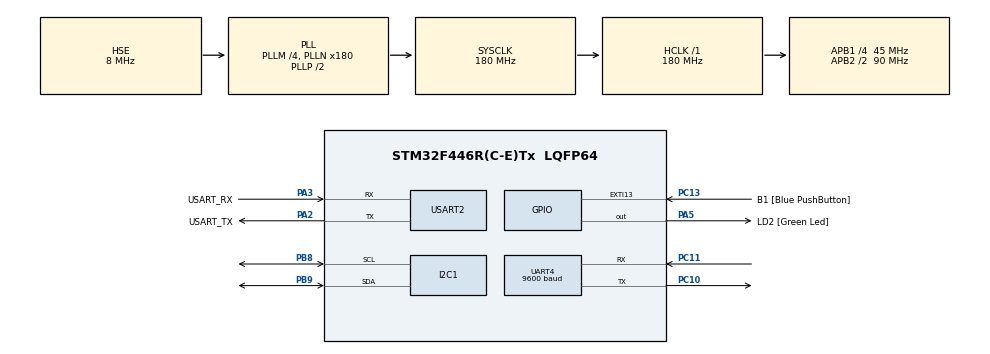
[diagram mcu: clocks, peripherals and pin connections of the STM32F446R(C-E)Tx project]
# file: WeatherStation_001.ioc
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Dma.Request0=UART4_RX
Dma.UART4_RX.0.Direction=DMA_PERIPH_TO_MEMORY
Dma.UART4_RX.0.FIFOMode=DMA_FIFOMODE_DISABLE
Dma.UART4_RX.0.Instance=DMA1_Stream2
Dma.UART4_RX.0.MemDataAlignment=DMA_MDATAALIGN_BYTE
Dma.UART4_RX.0.MemInc=DMA_MINC_ENABLE
Dma.UART4_RX.0.Mode=DMA_CIRCULAR
Dma.UART4_RX.0.PeriphDataAlignment=DMA_PDATAALIGN_BYTE
Dma.UART4_RX.0.PeriphInc=DMA_PINC_DISABLE
Dma.UART4_RX.0.Priority=DMA_PRIORITY_LOW
FREERTOS.Mutexes01=weatherMutex,Dynamic,NULL
FREERTOS.Tasks01=communicationTa,0,512,StartWaitCommand,Default,NULL,Dynamic,NULL,NULL;displayTask,-2,512,StartUpdateDisplay,Default,NULL,Dynamic,NULL,NULL;sensorTask,2,512,StartReadSensor,Default,NULL,Dynamic,NULL,NULL
I2C1.I2C_Mode=I2C_Fast
Mcu.Family=STM32F4
Mcu.Name=STM32F446R(C-E)Tx
Mcu.Package=LQFP64
NVIC.DMA1_Stream2_IRQn=true\:5\:0\:false\:false\:true\:true\:false
NVIC.PriorityGroup=NVIC_PRIORITYGROUP_4
NVIC.TIM6_DAC_IRQn=true\:0\:0\:false\:false\:true\:false\:false
NVIC.TimeBase=TIM6_DAC_IRQn
NVIC.TimeBaseIP=TIM6
PA13.GPIO_Label=TMS
PA13.Mode=Serial_Wire
PA13.Signal=SYS_JTMS-SWDIO
PA14.GPIO_Label=TCK
PA14.Mode=Serial_Wire
PA14.Signal=SYS_JTCK-SWCLK
PA2.GPIO_Label=USART_TX
PA2.Mode=Asynchronous
PA2.Signal=USART2_TX
PA3.GPIO_Label=USART_RX
PA3.Mode=Asynchronous
PA3.Signal=USART2_RX
PA5.GPIO_Label=LD2 [Green Led]
PA5.Signal=GPIO_Output
PB3.GPIO_Label=SWO
PB3.Signal=SYS_JTDO-SWO
PB8.Mode=I2C
PB8.Signal=I2C1_SCL
PB9.Mode=I2C
PB9.Signal=I2C1_SDA
PC10.Mode=Asynchronous
PC10.Signal=UART4_TX
PC11.Mode=Asynchronous
PC11.Signal=UART4_RX
PC13.GPIO_Label=B1 [Blue PushButton]
PC13.GPIO_ModeDefaultEXTI=GPIO_MODE_IT_FALLING
PC13.Signal=GPXTI13
PC14-OSC32_IN.Mode=LSE-External-Oscillator
PC14-OSC32_IN.Signal=RCC_OSC32_IN
PC15-OSC32_OUT.Mode=LSE-External-Oscillator
PC15-OSC32_OUT.Signal=RCC_OSC32_OUT
PH0-OSC_IN.Mode=HSE-External-Clock-Source
PH0-OSC_IN.Signal=RCC_OSC_IN
PH1-OSC_OUT.Mode=HSE-External-Clock-Source
PH1-OSC_OUT.Signal=RCC_OSC_OUT
ProjectManager.HeapSize=0x200
ProjectManager.StackSize=0x400
ProjectManager.TargetToolchain=SW4STM32
RCC.48MHZClocksFreq_Value=84000000
RCC.AHBFreq_Value=180000000
RCC.APB1CLKDivider=RCC_HCLK_DIV4
RCC.APB1Freq_Value=45000000
RCC.APB1TimFreq_Value=90000000
RCC.APB2CLKDivider=RCC_HCLK_DIV2
RCC.APB2Freq_Value=90000000
RCC.APB2TimFreq_Value=180000000
RCC.CortexFreq_Value=180000000
RCC.FLatency-AdvancedSettings=FLASH_LATENCY_5
RCC.HCLKFreq_Value=180000000
RCC.HSE_VALUE=8000000
RCC.HSI_VALUE=16000000
RCC.PLLM=4
RCC.PLLN=180
RCC.PLLSourceVirtual=RCC_PLLSOURCE_HSE
RCC.SYSCLKFreq_VALUE=180000000
RCC.SYSCLKSource=RCC_SYSCLKSOURCE_PLLCLK
RCC.USBFreq_Value=180000000
RCC.VCOOutputFreq_Value=360000000
UART4.BaudRate=9600
UART4.VirtualMode=Asynchronous
USART2.VirtualMode=VM_ASYNC
VP_FREERTOS_VS_ENABLE.Mode=Enabled
VP_SYS_VS_tim6.Mode=TIM6
board=NUCLEO-F446RE

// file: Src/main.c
/**
  ******************************************************************************
  * @file           : main.c
  * @brief          : Main program body
  ******************************************************************************
  * This notice applies to any and all portions of this file
  * that are not between comment pairs USER CODE BEGIN and
  * USER CODE END. Other portions of this file, whether
  * inserted by the user or by software development tools
  * are owned by their respective copyright owners.
  *
  * Copyright (c) 2018 STMicroelectronics International N.V.
  * All rights reserved.
  *
  * Redistribution and use in source and binary forms, with or without
  * modification, are permitted, provided that the following conditions are met:
  *
  * 1. Redistribution of source code must retain the above copyright notice,
  *    this list of conditions and the following disclaimer.
  * 2. Redistributions in binary form must reproduce the above copyright notice,
  *    this list of conditions and the following disclaimer in the documentation
  *    and/or other materials provided with the distribution.
  * 3. Neither the name of STMicroelectronics nor the names of other
  *    contributors to this software may be used to endorse or promote products
  *    derived from this software without specific written permission.
  * 4. This software, including modifications and/or derivative works of this
  *    software, must execute solely and exclusively on microcontroller or
  *    microprocessor devices manufactured by or for STMicroelectronics.
  * 5. Redistribution and use of this software other than as permitted under
  *    this license is void and will automatically terminate your rights under
  *    this license.
  *
  * THIS SOFTWARE IS PROVIDED BY STMICROELECTRONICS AND CONTRIBUTORS "AS IS"
  * AND ANY EXPRESS, IMPLIED OR STATUTORY WARRANTIES, INCLUDING, BUT NOT
  * LIMITED TO, THE IMPLIED WARRANTIES OF MERCHANTABILITY, FITNESS FOR A
  * PARTICULAR PURPOSE AND NON-INFRINGEMENT OF THIRD PARTY INTELLECTUAL PROPERTY
  * RIGHTS ARE DISCLAIMED TO THE FULLEST EXTENT PERMITTED BY LAW. IN NO EVENT
  * SHALL STMICROELECTRONICS OR CONTRIBUTORS BE LIABLE FOR ANY DIRECT, INDIRECT,
  * INCIDENTAL, SPECIAL, EXEMPLARY, OR CONSEQUENTIAL DAMAGES (INCLUDING, BUT NOT
  * LIMITED TO, PROCUREMENT OF SUBSTITUTE GOODS OR SERVICES; LOSS OF USE, DATA,
  * OR PROFITS; OR BUSINESS INTERRUPTION) HOWEVER CAUSED AND ON ANY THEORY OF
  * LIABILITY, WHETHER IN CONTRACT, STRICT LIABILITY, OR TORT (INCLUDING
  * NEGLIGENCE OR OTHERWISE) ARISING IN ANY WAY OUT OF THE USE OF THIS SOFTWARE,
  * EVEN IF ADVISED OF THE POSSIBILITY OF SUCH DAMAGE.
  *
  ******************************************************************************
  */
#include "main.h"
#include "stm32f4xx_hal.h"
#include "cmsis_os.h"
#include "dma.h"
#include "i2c.h"
#include "usart.h"
#include "gpio.h"

/* USER CODE BEGIN PV */
/* Private variables ---------------------------------------------------------*/

/* USER CODE END PV */

void SystemClock_Config(void);
void MX_FREERTOS_Init(void);

/* USER CODE BEGIN PFP */
/* Private function prototypes -----------------------------------------------*/

/* USER CODE END PFP */

int main(void)
{

  /* MCU Configuration----------------------------------------------------------*/

  /* Reset of all peripherals, Initializes the Flash interface and the Systick. */
  HAL_Init();

  /* Configure the system clock */
  SystemClock_Config();

  /* Initialize all configured peripherals */
  MX_GPIO_Init();
  MX_DMA_Init();
  MX_USART2_UART_Init();
  MX_I2C1_Init();
  MX_UART4_Init();

  /* Call init function for freertos objects (in freertos.c) */
  MX_FREERTOS_Init();

  /* Start scheduler */
  osKernelStart();

  /* We should never get here as control is now taken by the scheduler */

  /* Infinite loop */
  while (1)
  {

  }

}

void SystemClock_Config(void)
{

  RCC_OscInitTypeDef RCC_OscInitStruct;
  RCC_ClkInitTypeDef RCC_ClkInitStruct;

    /**Configure the main internal regulator output voltage
    */
  __HAL_RCC_PWR_CLK_ENABLE();

  __HAL_PWR_VOLTAGESCALING_CONFIG(PWR_REGULATOR_VOLTAGE_SCALE1);

    /**Initializes the CPU, AHB and APB busses clocks
    */
  RCC_OscInitStruct.OscillatorType = RCC_OSCILLATORTYPE_HSE;
  RCC_OscInitStruct.HSEState = RCC_HSE_BYPASS;
  RCC_OscInitStruct.PLL.PLLState = RCC_PLL_ON;
  RCC_OscInitStruct.PLL.PLLSource = RCC_PLLSOURCE_HSE;
  RCC_OscInitStruct.PLL.PLLM = 4;
  RCC_OscInitStruct.PLL.PLLN = 180;
  RCC_OscInitStruct.PLL.PLLP = RCC_PLLP_DIV2;
  RCC_OscInitStruct.PLL.PLLQ = 2;
  RCC_OscInitStruct.PLL.PLLR = 2;
  if (HAL_RCC_OscConfig(&RCC_OscInitStruct) != HAL_OK)
  {
    _Error_Handler(__FILE__, __LINE__);
  }

    /**Activate the Over-Drive mode
    */
  if (HAL_PWREx_EnableOverDrive() != HAL_OK)
  {
    _Error_Handler(__FILE__, __LINE__);
  }

    /**Initializes the CPU, AHB and APB busses clocks
    */
  RCC_ClkInitStruct.ClockType = RCC_CLOCKTYPE_HCLK|RCC_CLOCKTYPE_SYSCLK
                              |RCC_CLOCKTYPE_PCLK1|RCC_CLOCKTYPE_PCLK2;
  RCC_ClkInitStruct.SYSCLKSource = RCC_SYSCLKSOURCE_PLLCLK;
  RCC_ClkInitStruct.AHBCLKDivider = RCC_SYSCLK_DIV1;
  RCC_ClkInitStruct.APB1CLKDivider = RCC_HCLK_DIV4;
  RCC_ClkInitStruct.APB2CLKDivider = RCC_HCLK_DIV2;

  if (HAL_RCC_ClockConfig(&RCC_ClkInitStruct, FLASH_LATENCY_5) != HAL_OK)
  {
    _Error_Handler(__FILE__, __LINE__);
  }

    /**Configure the Systick interrupt time
    */
  HAL_SYSTICK_Config(HAL_RCC_GetHCLKFreq()/1000);

    /**Configure the Systick
    */
  HAL_SYSTICK_CLKSourceConfig(SYSTICK_CLKSOURCE_HCLK);

  /* SysTick_IRQn interrupt configuration */
  HAL_NVIC_SetPriority(SysTick_IRQn, 15, 0);
}

void HAL_TIM_PeriodElapsedCallback(TIM_HandleTypeDef *htim)
{
  if (htim->Instance == TIM6) {
    HAL_IncTick();
  }
}

void _Error_Handler(char *file, int line)
{
  while(1)
  {
  }
}

/************************ (C) COPYRIGHT STMicroelectronics *****END OF FILE****/

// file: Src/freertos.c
/* USER CODE BEGIN Header */
/**
 ******************************************************************************
 * File Name          : freertos.c
 * Description        : Code for freertos applications
 ******************************************************************************
 * This notice applies to any and all portions of this file
 * that are not between comment pairs USER CODE BEGIN and
 * USER CODE END. Other portions of this file, whether
 * inserted by the user or by software development tools
 * are owned by their respective copyright owners.
 *
 * Copyright (c) 2018 STMicroelectronics International N.V.
 * All rights reserved.
 *
 * Redistribution and use in source and binary forms, with or without
 * modification, are permitted, provided that the following conditions are met:
 *
 * 1. Redistribution of source code must retain the above copyright notice,
 *    this list of conditions and the following disclaimer.
 * 2. Redistributions in binary form must reproduce the above copyright notice,
 *    this list of conditions and the following disclaimer in the documentation
 *    and/or other materials provided with the distribution.
 * 3. Neither the name of STMicroelectronics nor the names of other
 *    contributors to this software may be used to endorse or promote products
 *    derived from this software without specific written permission.
 * 4. This software, including modifications and/or derivative works of this
 *    software, must execute solely and exclusively on microcontroller or
 *    microprocessor devices manufactured by or for STMicroelectronics.
 * 5. Redistribution and use of this software other than as permitted under
 *    this license is void and will automatically terminate your rights under
 *    this license.
 *
 * THIS SOFTWARE IS PROVIDED BY STMICROELECTRONICS AND CONTRIBUTORS "AS IS"
 * AND ANY EXPRESS, IMPLIED OR STATUTORY WARRANTIES, INCLUDING, BUT NOT
 * LIMITED TO, THE IMPLIED WARRANTIES OF MERCHANTABILITY, FITNESS FOR A
 * PARTICULAR PURPOSE AND NON-INFRINGEMENT OF THIRD PARTY INTELLECTUAL PROPERTY
 * RIGHTS ARE DISCLAIMED TO THE FULLEST EXTENT PERMITTED BY LAW. IN NO EVENT
 * SHALL STMICROELECTRONICS OR CONTRIBUTORS BE LIABLE FOR ANY DIRECT, INDIRECT,
 * INCIDENTAL, SPECIAL, EXEMPLARY, OR CONSEQUENTIAL DAMAGES (INCLUDING, BUT NOT
 * LIMITED TO, PROCUREMENT OF SUBSTITUTE GOODS OR SERVICES; LOSS OF USE, DATA,
 * OR PROFITS; OR BUSINESS INTERRUPTION) HOWEVER CAUSED AND ON ANY THEORY OF
 * LIABILITY, WHETHER IN CONTRACT, STRICT LIABILITY, OR TORT (INCLUDING
 * NEGLIGENCE OR OTHERWISE) ARISING IN ANY WAY OUT OF THE USE OF THIS SOFTWARE,
 * EVEN IF ADVISED OF THE POSSIBILITY OF SUCH DAMAGE.
 *
 ******************************************************************************
 */
/* USER CODE END Header */

#include "FreeRTOS.h"
#include "task.h"
#include "main.h"
#include "cmsis_os.h"

/* USER CODE BEGIN Includes */

#include "stm32f4xx_hal.h"
#include "i2c.h"
#include "usart.h"
#include "lcd.h"
#include "BMP280.h"
#include "ringbuffer_dma.h"
#include <string.h>
#include "at_parser.h"
#include "weatherForecast.h"

#include "dataTypes.h"
#include "updateDisplay.h"
#include "commandTask.h"
#include "readSensors.h"

/* USER CODE END Includes */

osThreadId communicationTaHandle;
osThreadId displayTaskHandle;
osThreadId sensorTaskHandle;
osMutexId weatherMutexHandle;

/* USER CODE BEGIN FunctionPrototypes */

osMailQId mailWeatherHandle;

/* Data structure for weather */

Weather currentWeather = {0};

/* USER CODE END FunctionPrototypes */

void MX_FREERTOS_Init(void); /* (MISRA C 2004 rule 8.1) */

void MX_FREERTOS_Init(void) {

	/* Create the mutex(es) */
	/* definition and creation of weatherMutex */
	osMutexDef(weatherMutex);
	weatherMutexHandle = osMutexCreate(osMutex(weatherMutex));

	/* Create the thread(s) */
	/* definition and creation of communicationTa */
	osThreadDef(communicationTa, StartWaitCommand, osPriorityNormal, 0, 512);
	communicationTaHandle = osThreadCreate(osThread(communicationTa), NULL);

	/* definition and creation of displayTask */
	osThreadDef(displayTask, StartUpdateDisplay, osPriorityLow, 0, 512);
	displayTaskHandle = osThreadCreate(osThread(displayTask), NULL);

	/* definition and creation of sensorTask */
	osThreadDef(sensorTask, StartReadSensor, osPriorityHigh, 0, 512);
	sensorTaskHandle = osThreadCreate(osThread(sensorTask), NULL);

	/* USER CODE BEGIN RTOS_QUEUES */
	/* add queues, ... */

	osMailQDef(mailWeather, 16, Weather);
	mailWeatherHandle = osMailCreate(osMailQ(mailWeather), NULL);

	/* USER CODE END RTOS_QUEUES */
}

/************************ (C) COPYRIGHT STMicroelectronics *****END OF FILE****/
